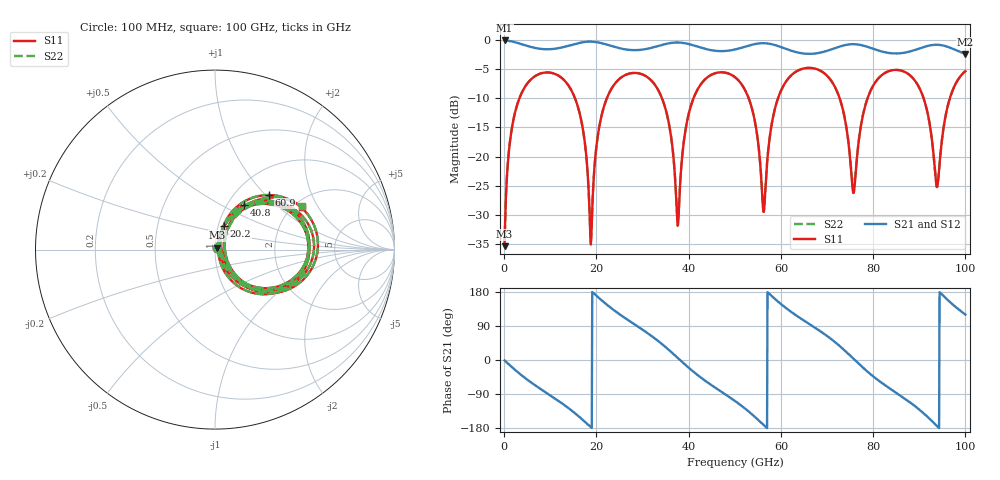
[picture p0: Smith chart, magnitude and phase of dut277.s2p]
! Touchstone file exported from HFSS 2026.1.0
!  File:  C:/ffzhzh/LocalFiles/Ansys_Project_Files/temp_train_TSV_RDL_277_1783677299_26216.aedt
!  Generated:  06:04:59 PM Jul 10, 2026
!  Design:  TSV_RDL
!  Project:  temp_train_TSV_RDL_277_1783677299_26216
! Variables:
!  h_bsmrdl = 2.44um
!  h_ox = 20um
!  h_rdl = 5um
!  h_sub = 53.98um
!  h_tmrdl = 4.53um
!  h_tsv = 53.98um
!  h_via = 3um
!  l_bsmrdl = 184.36um
!  l_sub = 3368.3um
!  l_tmrdl = 570.52um
!  m_sub = 200um
!  pitch = 58.97um
!  r_tsv = 14.49um
!  s_tmrdl = 10um
!  w_bsmrdl = 16.21um
!  w_sub = 500um
!  w_tmrdl = 28.17um
!  x_tsv_center1 = 584.605um
!  x_tsv_center2 = 785.175um
!  x_tsv_center3 = 1383.865um
!  x_tsv_center4 = 1584.435um
!  x_tsv_center5 = 2183.125um
!  x_tsv_center6 = 2383.695um
# GHz S MA R 50.000000
! Terminal data exported
! Port[1] = TM_RDL1_1_T1
! Port[2] = TM_RDL5_1_T1
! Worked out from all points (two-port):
!   1000 points, 100 MHz to 100 GHz, reference 50 ohm
!   highest |S21| = -0.11 dB at 100 MHz (marker M1); lowest = -2.4 dB at 100 GHz (marker M2)
!   |S21| within 3 dB of the highest: start of sweep to end of sweep
!   lowest |S11| = -35.4 dB at 100 MHz (marker M3), VSWR 1.03, Z = 51.3 + j1.17 ohm
!   |S11| at or under -10 dB: 15.35 GHz to 22.28 GHz (6.926 GHz wide, 36.8 % of centre); 34.21 GHz to 41.06 GHz (6.852 GHz wide, 18.2 % of centre); 53.01 GHz to 59.38 GHz (6.375 GHz wide, 11.3 % of centre) (the widest 3 of 6)
!   |S22| runs from -35.4 to -4.8 dB; largest |S21 - S12| = 1.8e-14
!   S11 on the Smith chart (normalised r, x): 100 MHz: 1.03, +0.02; 20.2 GHz: 1.07, +0.29; 40.8 GHz: 1.20, +0.65; 60.9 GHz: 1.40, +1.04; 100 GHz: 2.19, +1.48
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0.1  0.01706 42.1  0.9875 -1.2  0.9875 -1.2  0.01706 42.1
! Gamma 0 0 0 0
! Port Impedance 50 0 50 0
1.7  0.1775 65.6  0.9675 -19.0  0.9675 -19.0  0.1775 65.6
5  0.4214 35.5  0.8865 -51.8  0.8865 -51.8  0.4214 35.6
16.8  0.1966 -62.1  0.9497 -155.4  0.9497 -155.4  0.1965 -61.8
18.8  0.01764 2.6  0.9645 -177.3  0.9645 -177.3  0.01855 3.0
20.2  0.1407 69.1  0.9524 167.4  0.9524 167.4  0.1409 68.9
25.1  0.4665 27.9  0.8458 120.0  0.8458 120.0  0.4666 27.9
33.4  0.371 -38.2  0.8858 50.1  0.8858 50.1  0.3709 -37.9
37.6  0.02553 -5.5  0.9486 5.9  0.9486 5.9  0.02793 -4.2
40.8  0.2963 56.5  0.9023 -28.5  0.9023 -28.5  0.2967 56.1
50.1  0.4766 -17.6  0.8273 -108.6  0.8273 -108.6  0.4766 -17.6
53.9  0.2424 -48.9  0.9109 -145.1  0.9109 -145.1  0.2423 -48.8
56.3  0.03353 15.3  0.9357 -171.9  0.9357 -171.9  0.0339 15.5
60.9  0.4263 45.5  0.8419 139.0  0.8419 139.0  0.4264 45.5
66.7  0.5732 0.9  0.7592 90.7  0.7592 90.7  0.5732 1.1
72.6  0.3269 -45.0  0.8713 38.4  0.8713 38.4  0.3272 -44.3
75.7  0.04866 -2.2  0.9178 3.7  0.9178 3.7  0.05327 -1.3
78.6  0.2996 52.7  0.8747 -28.9  0.8747 -28.9  0.3006 52.0
83.4  0.5392 14.9  0.7716 -73.4  0.7716 -73.4  0.5397 14.7
90.3  0.3668 -38.4  0.8502 -133.9  0.8502 -133.9  0.3671 -38.4
93.8  0.05481 0.1  0.9074 -173.7  0.9074 -173.7  0.05515 0.1
100  0.5392 26.4  0.7577 119.9  0.7577 119.9  0.5393 26.5
